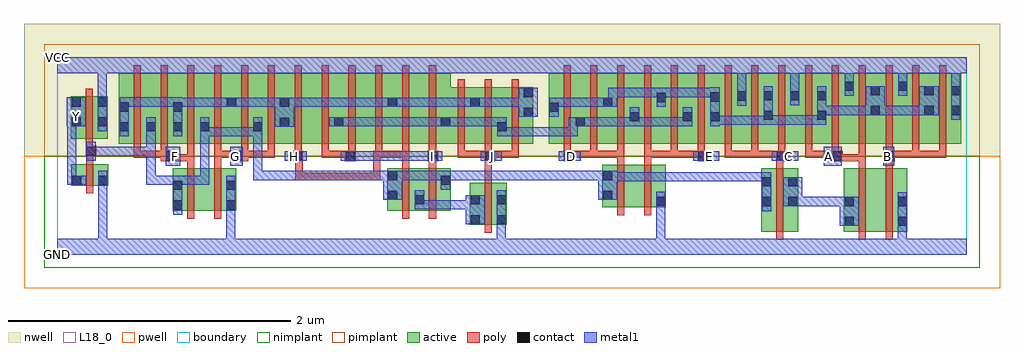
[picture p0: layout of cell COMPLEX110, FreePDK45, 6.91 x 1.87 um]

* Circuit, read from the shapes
.subckt COMPLEX110 A B C D E F G GND H I J VCC Y
M1 GND n1 Y VSUBS nfet w=0.15u l=0.05u
M2 n2 F n1 VSUBS nfet w=0.3u l=0.05u
M3 GND G n2 VSUBS nfet w=0.3u l=0.05u
M4 n3 H n1 VSUBS nfet w=0.3u l=0.05u
M5 n1 I n3 VSUBS nfet w=0.3u l=0.05u
M6 GND J n3 VSUBS nfet w=0.3u l=0.05u
M7 n4 D n1 VSUBS nfet w=0.3u l=0.05u
M8 GND E n4 VSUBS nfet w=0.3u l=0.05u
M9 n5 C n1 VSUBS nfet w=0.45u l=0.05u
M10 n6 A n5 VSUBS nfet w=0.45u l=0.05u
M11 GND B n6 VSUBS nfet w=0.45u l=0.05u
M12 VCC n1 Y n7 pfet w=0.3u l=0.05u
M13 n1 F n8 n7 pfet w=0.5u l=0.05u m=3
M14 n8 G n1 n7 pfet w=0.5u l=0.05u m=3
M15 n9 H n8 n7 pfet w=0.5u l=0.05u
M16 n10 I n9 n7 pfet w=0.5u l=0.05u
M17 n11 I n10 n7 pfet w=0.5u l=0.05u
M18 n8 H n11 n7 pfet w=0.5u l=0.05u
M19 n12 H n8 n7 pfet w=0.5u l=0.05u
M20 n10 I n12 n7 pfet w=0.5u l=0.05u
M21 n8 J n10 n7 pfet w=0.4u l=0.05u m=3
M22 n10 D n13 n7 pfet w=0.5u l=0.05u m=3
M23 n13 E n10 n7 pfet w=0.5u l=0.05u m=3
M24 VCC C n13 n7 pfet w=0.5u l=0.05u m=3
M25 n13 A VCC n7 pfet w=0.5u l=0.05u m=3
M26 VCC B n13 n7 pfet w=0.5u l=0.05u m=3
.ends

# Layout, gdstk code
import gdstk
lib = gdstk.Library(unit=1e-6, precision=1e-09)
def R(c, l, rs):  # rectangles x0, y0, x1, y1
    for r in rs: c.add(gdstk.rectangle(r[:2], r[2:], *l))
def A(c, l, x, y, w, h, nx, ny, dx, dy):  # array of equal rectangles
    R(c, l, [(x+i*dx, y+j*dy, x+i*dx+w, y+j*dy+h) for i in range(nx) for j in range(ny)])
active = (1, 0)
pwell = (2, 0)
nwell = (3, 0)
nimplant = (4, 0)
pimplant = (5, 0)
poly = (9, 0)
contact = (10, 0)
metal1 = (11, 0)
L18_0 = (18, 0)
boundary = (235, 0)

complex110 = lib.new_cell('COMPLEX110')
A(complex110, active, 0.437, 0.787, 0.265, 0.5, 4, 1, 0.19, 0)
A(complex110, active, 3.86, 0.807, 0.075, 0.393, 3, 1, 0.38, 0)
A(complex110, active, 5.375, 0.807, 0.075, 0.393, 3, 1, 0.38, 0)
R(complex110, active, [(4.985,0.162,5.245,0.612), (5.57,0.162,5.795,0.612), (5.795,0.162,6.02,0.612), (5.945,0.182,6.02,0.612), (4.985,0.195,5.06,0.612), (5.17,0.195,5.245,0.612), (5.57,0.195,5.675,0.612), (2.922,0.212,2.997,0.427), (2.922,0.212,3.182,0.512), (3.107,0.212,3.182,0.427), (0.817,0.312,0.892,0.612), (0.817,0.312,1.042,0.612), (1.042,0.312,1.267,0.612), (1.192,0.312,1.267,0.612), (2.337,0.312,2.412,0.612), (2.337,0.312,2.602,0.612), (2.527,0.312,2.787,0.612), (2.527,0.312,2.602,0.497), (2.712,0.33,2.787,0.612), (3.86,0.337,4.085,0.637), (4.085,0.337,4.31,0.637), (4.235,0.337,4.31,0.637), (3.86,0.345,3.935,0.637), (0.1,0.49,0.175,0.64), (0.1,0.49,0.36,0.64), (0.285,0.49,0.36,0.64), (0.437,0.787,0.512,1.2), (0.627,0.787,0.702,1.07), (0.817,0.787,0.892,1.2), (1.007,0.787,1.082,1.07), (1.197,0.787,1.457,1.287), (1.382,0.787,1.647,1.287), (1.572,0.787,1.802,1.287), (1.802,0.787,2.03,1.287), (1.955,0.787,2.182,1.287), (2.182,0.787,2.412,1.287), (2.337,0.787,2.562,1.287), (2.562,0.787,2.787,1.287), (2.712,0.787,2.787,1.07), (2.712,0.787,2.995,1.187), (2.92,0.787,3.187,1.187), (3.112,0.787,3.187,1.07), (3.112,0.787,3.372,1.187), (3.297,0.787,3.372,1.187), (3.48,0.787,3.74,1.287), (3.48,0.787,3.555,1.2), (3.665,0.787,3.935,1.287), (3.665,0.787,3.74,1.07), (3.86,0.787,4.125,1.287), (4.05,0.787,4.315,1.287), (4.24,0.787,4.5,1.287), (4.425,0.787,4.695,1.287), (4.62,0.787,4.885,1.287), (4.81,0.787,5.072,1.287), (4.997,0.787,5.26,1.287), (5.185,0.787,5.45,1.287), (5.375,0.787,5.645,1.287), (5.57,0.787,5.83,1.287), (5.755,0.787,6.025,1.287), (5.95,0.787,6.21,1.287), (6.135,0.787,6.4,1.287), (6.325,0.787,6.4,1.255), (1.197,0.807,1.272,1.2), (1.382,0.807,1.457,1.07), (1.572,0.807,1.647,1.2), (1.955,0.807,2.03,1.07), (2.337,0.807,2.412,1.2), (4.05,0.807,4.125,1.07), (4.425,0.807,4.5,1.07), (4.81,0.807,4.885,1.255), (4.997,0.807,5.072,1.2), (5.185,0.807,5.26,1.255), (5.57,0.807,5.645,1.255), (5.95,0.807,6.025,1.255), (0.097,0.822,0.357,1.122), (0.097,0.822,0.172,1.12), (0.282,0.822,0.357,1.122), (2.92,0.907,2.995,1.187)])
R(complex110, pwell, [(-0.235,-0.235,6.675,0.7)])
R(complex110, nwell, [(-0.235,0.7,6.675,1.635)])
R(complex110, nimplant, [(-0.09,-0.09,6.53,0.7)])
R(complex110, pimplant, [(-0.09,0.7,6.53,1.49)])
A(complex110, poly, 1.112, 0.687, 0.05, 0.095, 9, 1, 0.19, 0)
A(complex110, poly, 2.837, 0.687, 0.05, 0.095, 3, 1, 0.19, 0)
A(complex110, poly, 3.585, 0.687, 0.05, 0.095, 11, 1, 0.19, 0)
A(complex110, poly, 3.965, 0.687, 0.05, 0.05, 3, 1, 0.19, 0)
A(complex110, poly, 4.535, 0.687, 0.05, 0.05, 3, 1, 0.19, 0)
A(complex110, poly, 5.865, 0.687, 0.05, 0.095, 3, 1, 0.19, 0)
A(complex110, poly, 0.542, 0.732, 0.05, 0.61, 12, 1, 0.19, 0)
A(complex110, poly, 2.837, 0.732, 0.05, 0.51, 3, 1, 0.19, 0)
A(complex110, poly, 3.585, 0.732, 0.05, 0.61, 15, 1, 0.19, 0)
R(complex110, poly, [(5.09,0.107,5.14,0.667), (5.675,0.107,5.725,0.667), (5.865,0.107,5.915,0.667), (3.027,0.157,3.077,0.567), (0.922,0.257,0.972,0.667), (1.112,0.257,1.162,0.667), (2.442,0.257,2.492,0.667), (2.632,0.257,2.682,0.667), (3.965,0.282,4.015,0.692), (4.155,0.282,4.205,0.692), (0.205,0.435,0.255,0.695), (3.027,0.517,3.077,0.712), (1.687,0.53,1.737,0.58), (1.687,0.53,1.737,0.58), (1.687,0.53,1.737,0.58), (1.687,0.53,1.955,0.58), (1.687,0.53,1.737,0.712), (1.905,0.53,1.955,0.58), (1.905,0.53,1.955,0.58), (1.905,0.53,1.955,0.58), (1.905,0.53,2.087,0.58), (2.037,0.53,2.087,0.58), (2.037,0.53,2.287,0.58), (2.237,0.53,2.287,0.58), (2.237,0.53,2.287,0.58), (2.237,0.53,2.287,0.58), (2.237,0.53,2.287,0.58), (2.237,0.53,2.287,0.58), (2.237,0.53,2.287,0.737), (0.922,0.617,0.972,0.712), (1.112,0.617,1.162,0.737), (2.442,0.617,2.492,0.737), (2.632,0.617,2.682,0.712), (5.09,0.617,5.14,0.712), (5.675,0.617,5.725,0.712), (5.865,0.617,5.915,0.712), (3.965,0.642,4.015,0.737), (4.155,0.642,4.205,0.737), (0.205,0.645,0.255,0.747), (0.732,0.662,0.84,0.737), (0.79,0.662,0.972,0.712), (0.922,0.662,0.972,0.712), (0.922,0.662,0.972,0.712), (0.922,0.662,0.972,0.712), (0.922,0.662,0.972,0.782), (1.245,0.662,1.352,0.737), (1.662,0.662,1.737,0.737), (1.687,0.662,1.737,0.712), (1.687,0.662,1.737,0.712), (2.037,0.662,2.112,0.737), (2.622,0.662,2.697,0.737), (3.027,0.662,3.102,0.737), (3.585,0.662,3.66,0.737), (4.535,0.662,4.61,0.737), (5.09,0.662,5.165,0.737), (5.485,0.662,5.56,0.737), (5.51,0.662,5.56,0.712), (5.51,0.662,5.56,0.712), (5.51,0.662,5.725,0.712), (5.675,0.662,5.725,0.712), (5.675,0.662,5.725,0.782), (5.855,0.662,5.93,0.737), (0.542,0.687,0.592,0.782), (0.542,0.687,0.592,0.737), (0.542,0.687,0.782,0.737), (0.732,0.687,0.782,0.782), (0.732,0.687,0.782,0.737), (0.732,0.687,0.782,0.737), (1.112,0.687,1.162,0.737), (1.112,0.687,1.162,0.737), (1.112,0.687,1.162,0.737), (1.112,0.687,1.295,0.737), (1.302,0.687,1.542,0.737), (1.492,0.687,1.542,0.737), (1.492,0.687,1.542,0.737), (1.492,0.687,1.542,0.737), (1.872,0.687,1.922,0.737), (1.872,0.687,2.087,0.737), (2.037,0.687,2.087,0.737), (2.037,0.687,2.087,0.737), (2.237,0.687,2.302,0.737), (2.252,0.687,2.492,0.737), (2.442,0.687,2.492,0.737), (2.442,0.687,2.492,0.737), (2.442,0.687,2.492,0.737), (2.837,0.687,2.887,0.737), (2.837,0.687,2.887,0.737), (2.837,0.687,2.887,0.737), (2.837,0.687,3.077,0.737), (3.052,0.687,3.102,0.737), (3.052,0.687,3.102,0.737), (3.052,0.687,3.267,0.737), (3.217,0.687,3.267,0.737), (3.61,0.687,3.66,0.737), (3.61,0.687,3.66,0.737), (3.61,0.687,3.825,0.737), (3.775,0.687,3.825,0.737), (3.775,0.687,4.015,0.737), (3.965,0.687,4.015,0.737), (3.965,0.687,4.015,0.737), (4.155,0.687,4.395,0.737), (4.345,0.687,4.395,0.737), (4.345,0.687,4.395,0.737), (4.345,0.687,4.585,0.737), (4.535,0.687,4.585,0.737), (4.725,0.687,4.965,0.737), (4.915,0.687,4.965,0.737), (4.915,0.687,4.965,0.737), (4.915,0.687,5.14,0.737), (5.09,0.687,5.14,0.737), (5.09,0.687,5.14,0.737), (5.295,0.687,5.345,0.737), (5.295,0.687,5.345,0.737), (5.295,0.687,5.345,0.737), (5.295,0.687,5.535,0.737), (5.88,0.687,5.93,0.737), (5.88,0.687,5.93,0.737), (5.88,0.687,6.105,0.737), (6.055,0.687,6.105,0.737), (6.055,0.687,6.295,0.737), (6.245,0.687,6.295,0.737), (6.245,0.687,6.295,0.737), (6.245,0.687,6.295,0.737), (0.202,0.697,0.277,0.772), (0.202,0.722,0.252,0.817), (0.202,0.767,0.252,1.177)])
A(complex110, contact, 0.442, 0.875, 0.065, 0.065, 4, 1, 0.19, 0)
R(complex110, contact, [(5.575,0.205,5.64,0.27), (5.95,0.205,6.015,0.27), (2.927,0.217,2.992,0.282), (3.112,0.217,3.177,0.282), (0.822,0.32,0.887,0.385), (1.197,0.32,1.262,0.385), (4.99,0.345,5.055,0.41), (5.175,0.345,5.24,0.41), (5.575,0.345,5.64,0.41), (5.95,0.345,6.015,0.41), (4.24,0.347,4.305,0.412), (2.532,0.357,2.597,0.422), (2.927,0.357,2.992,0.422), (3.112,0.357,3.177,0.422), (2.342,0.39,2.407,0.455), (3.865,0.39,3.93,0.455), (0.822,0.46,0.887,0.525), (1.197,0.46,1.262,0.525), (4.99,0.485,5.055,0.55), (5.175,0.485,5.24,0.55), (0.105,0.495,0.17,0.56), (0.29,0.495,0.355,0.56), (2.717,0.495,2.782,0.56), (2.342,0.53,2.407,0.595), (3.865,0.53,3.93,0.595), (0.77,0.667,0.835,0.732), (1.25,0.667,1.315,0.732), (1.667,0.667,1.732,0.732), (2.042,0.667,2.107,0.732), (2.627,0.667,2.692,0.732), (3.032,0.667,3.097,0.732), (3.59,0.667,3.655,0.732), (4.54,0.667,4.605,0.732), (5.095,0.667,5.16,0.732), (5.49,0.667,5.555,0.732), (5.86,0.667,5.925,0.732), (0.207,0.702,0.272,0.767), (1.387,0.875,1.452,0.94), (3.117,0.875,3.182,0.94), (1.577,0.907,1.642,0.972), (0.102,0.91,0.167,0.975), (0.287,0.91,0.352,0.975), (1.96,0.91,2.025,0.975), (2.717,0.91,2.782,0.975), (3.67,0.91,3.735,0.975), (4.055,0.945,4.12,1.01), (4.43,0.945,4.495,1.01), (4.625,0.945,4.69,1.01), (5.002,0.955,5.067,1.02), (5.38,0.955,5.445,1.02), (3.302,0.977,3.367,1.042), (5.76,0.99,5.825,1.055), (6.14,0.99,6.205,1.055), (6.33,0.99,6.395,1.055), (3.485,1.012,3.55,1.077), (0.442,1.015,0.507,1.08), (0.822,1.015,0.887,1.08), (1.202,1.047,1.267,1.112), (1.577,1.047,1.642,1.112), (2.342,1.047,2.407,1.112), (2.925,1.047,2.99,1.112), (3.865,1.047,3.93,1.112), (0.102,1.05,0.167,1.115), (0.287,1.05,0.352,1.115), (4.245,1.082,4.31,1.147), (4.625,1.085,4.69,1.15), (4.815,1.092,4.88,1.157), (5.002,1.095,5.067,1.16), (5.19,1.095,5.255,1.16), (5.38,1.095,5.445,1.16), (3.302,1.117,3.367,1.182), (5.76,1.13,5.825,1.195), (6.14,1.13,6.205,1.195), (6.33,1.13,6.395,1.195), (5.575,1.162,5.64,1.227), (5.955,1.162,6.02,1.227)])
R(complex110, metal1, [(0,0,6.44,0.115), (0.29,0.05,0.355,0.115), (0.29,0.05,0.355,0.115), (0.29,0.05,0.355,0.525), (1.197,0.05,1.262,0.115), (1.197,0.05,1.262,0.115), (1.197,0.05,1.262,0.115), (1.197,0.05,1.262,0.115), (1.197,0.05,1.262,0.35), (3.112,0.05,3.177,0.247), (4.24,0.05,4.305,0.115), (4.24,0.05,4.305,0.115), (4.24,0.05,4.305,0.115), (4.24,0.05,4.305,0.115), (4.24,0.05,4.305,0.377), (5.95,0.05,6.015,0.235), (5.95,0.17,6.015,0.445), (5.95,0.17,6.015,0.235), (5.95,0.17,6.015,0.235), (3.112,0.182,3.177,0.457), (3.112,0.182,3.177,0.247), (3.112,0.182,3.177,0.247), (3.112,0.182,3.177,0.247), (3.112,0.182,3.177,0.247), (5.54,0.205,5.675,0.41), (2.892,0.217,3.027,0.422), (0.822,0.285,0.887,0.56), (1.197,0.285,1.262,0.56), (4.99,0.31,5.055,0.585), (4.24,0.312,4.305,0.447), (2.532,0.322,2.597,0.457), (2.532,0.322,2.61,0.387), (2.545,0.322,2.61,0.387), (2.545,0.322,2.817,0.387), (2.752,0.322,2.817,0.387), (2.752,0.322,2.817,0.387), (2.752,0.322,2.817,0.387), (2.752,0.322,2.957,0.387), (5.14,0.345,5.275,0.55), (5.21,0.345,5.275,0.41), (5.21,0.345,5.275,0.41), (5.21,0.345,5.467,0.41), (5.402,0.345,5.467,0.41), (5.402,0.345,5.467,0.41), (5.402,0.345,5.467,0.41), (5.402,0.345,5.605,0.41), (2.307,0.39,2.442,0.595), (3.83,0.39,3.965,0.595), (0.29,0.46,0.355,0.525), (0.29,0.46,0.355,0.525), (0.29,0.46,0.355,0.525), (0.29,0.46,0.355,0.525), (0.29,0.46,0.355,0.595), (2.717,0.46,2.782,0.595), (0.07,0.495,0.135,0.56), (0.07,0.495,0.135,0.56), (0.07,0.495,0.135,0.56), (0.07,0.495,0.135,0.56), (0.07,0.495,0.205,0.56), (0.07,0.495,0.135,0.975), (0.632,0.495,0.697,0.56), (0.632,0.495,0.697,0.56), (0.632,0.495,0.697,0.56), (0.632,0.495,0.887,0.56), (0.632,0.495,0.697,0.767), (0.822,0.495,0.887,0.56), (0.822,0.495,0.887,0.56), (0.822,0.495,1.077,0.56), (1.012,0.495,1.077,0.56), (1.012,0.495,1.077,0.56), (1.012,0.495,1.077,0.56), (1.012,0.495,1.077,0.905), (3.9,0.52,3.965,0.585), (3.9,0.52,3.965,0.585), (3.9,0.52,4.12,0.585), (4.055,0.52,4.12,0.585), (4.055,0.52,4.257,0.585), (4.192,0.52,4.257,0.585), (4.192,0.52,4.257,0.585), (4.192,0.52,4.257,0.585), (4.192,0.52,4.415,0.585), (4.35,0.52,4.415,0.585), (4.35,0.52,4.447,0.585), (4.382,0.52,4.447,0.585), (4.382,0.52,4.707,0.585), (4.642,0.52,4.707,0.585), (4.642,0.52,4.707,0.585), (4.642,0.52,4.707,0.585), (4.642,0.52,4.85,0.585), (4.785,0.52,4.85,0.585), (4.785,0.52,4.85,0.585), (4.785,0.52,4.85,0.585), (4.785,0.52,4.987,0.585), (4.922,0.52,4.987,0.585), (4.922,0.52,5.055,0.585), (1.387,0.53,1.452,0.595), (1.387,0.53,1.452,0.595), (1.387,0.53,1.452,0.595), (1.387,0.53,1.452,0.595), (1.387,0.53,1.452,0.595), (1.387,0.53,1.59,0.595), (1.387,0.53,1.452,0.905), (1.525,0.53,1.59,0.595), (1.525,0.53,1.59,0.595), (1.525,0.53,1.59,0.595), (1.525,0.53,1.815,0.595), (1.75,0.53,1.815,0.595), (1.75,0.53,1.815,0.595), (1.75,0.53,1.815,0.595), (1.75,0.53,2.06,0.595), (1.995,0.53,2.06,0.595), (1.995,0.53,2.197,0.595), (2.132,0.53,2.197,0.595), (2.132,0.53,2.197,0.595), (2.132,0.53,2.197,0.595), (2.132,0.53,2.335,0.595), (2.27,0.53,2.335,0.595), (2.27,0.53,2.372,0.595), (2.377,0.53,2.472,0.595), (2.407,0.53,2.472,0.595), (2.407,0.53,2.61,0.595), (2.545,0.53,2.61,0.595), (2.545,0.53,2.61,0.595), (2.545,0.53,2.61,0.595), (2.545,0.53,2.782,0.595), (2.717,0.53,2.782,0.595), (2.717,0.53,2.782,0.595), (2.717,0.53,3.025,0.595), (2.96,0.53,3.025,0.595), (2.96,0.53,3.025,0.595), (2.96,0.53,3.025,0.595), (2.96,0.53,3.162,0.595), (3.097,0.53,3.162,0.595), (3.097,0.53,3.162,0.595), (3.097,0.53,3.162,0.595), (3.097,0.53,3.32,0.595), (3.255,0.53,3.32,0.595), (3.255,0.53,3.32,0.595), (3.255,0.53,3.32,0.595), (3.255,0.53,3.54,0.595), (3.475,0.53,3.54,0.595), (3.475,0.53,3.687,0.595), (3.622,0.53,3.687,0.595), (3.622,0.53,3.825,0.595), (3.76,0.53,3.825,0.595), (3.76,0.53,3.895,0.595), (5.847,0.63,5.925,0.767), (0.77,0.632,0.872,0.767), (1.227,0.632,1.315,0.767), (5.427,0.632,5.555,0.767), (0.207,0.667,0.272,0.802), (1.612,0.667,1.767,0.732), (2.007,0.667,2.142,0.732), (2.077,0.667,2.235,0.732), (2.17,0.667,2.235,0.732), (2.17,0.667,2.335,0.732), (2.27,0.667,2.335,0.732), (2.27,0.667,2.46,0.732), (2.395,0.667,2.46,0.732), (2.395,0.667,2.472,0.732), (2.407,0.667,2.472,0.732), (2.407,0.667,2.61,0.732), (2.545,0.667,2.61,0.732), (2.545,0.667,2.657,0.732), (2.592,0.667,2.727,0.732), (2.997,0.667,3.147,0.735), (3.552,0.667,3.707,0.732), (4.505,0.667,4.687,0.732), (5.06,0.667,5.247,0.732), (0.207,0.702,0.272,0.767), (0.207,0.702,0.272,0.767), (0.207,0.702,0.507,0.767), (0.442,0.702,0.507,0.767), (0.442,0.702,0.507,0.767), (0.442,0.702,0.507,0.767), (0.442,0.702,0.697,0.767), (0.632,0.702,0.697,0.767), (0.632,0.702,0.697,0.905), (0.442,0.84,0.507,1.115), (0.632,0.84,0.697,0.975), (0.822,0.84,0.887,1.115), (1.012,0.84,1.077,0.905), (1.012,0.84,1.077,0.905), (1.012,0.84,1.077,0.975), (1.012,0.84,1.315,0.905), (1.25,0.84,1.315,0.905), (1.25,0.84,1.315,0.905), (1.25,0.84,1.315,0.905), (1.25,0.84,1.452,0.905), (1.387,0.84,1.452,0.975), (3.117,0.84,3.182,0.905), (3.117,0.84,3.182,0.905), (3.117,0.84,3.32,0.905), (3.117,0.84,3.182,0.975), (3.255,0.84,3.32,0.905), (3.255,0.84,3.32,0.905), (3.255,0.84,3.32,0.905), (3.255,0.84,3.687,0.905), (3.622,0.84,3.687,0.975), (0.287,0.875,0.352,1.15), (1.542,0.907,1.677,1.112), (0.067,0.91,0.202,1.115), (0.07,0.91,0.135,0.975), (0.07,0.91,0.135,0.975), (1.925,0.91,2.06,0.975), (1.995,0.91,2.197,0.975), (2.132,0.91,2.197,0.975), (2.132,0.91,2.197,0.975), (2.132,0.91,2.197,0.975), (2.132,0.91,2.335,0.975), (2.27,0.91,2.335,0.975), (2.27,0.91,2.372,0.975), (2.307,0.91,2.372,0.975), (2.307,0.91,2.472,0.975), (2.407,0.91,2.472,0.975), (2.407,0.91,2.61,0.975), (2.545,0.91,2.61,0.975), (2.545,0.91,2.61,0.975), (2.545,0.91,2.61,0.975), (2.545,0.91,2.747,0.975), (2.682,0.91,2.817,0.975), (2.752,0.91,2.817,0.975), (2.752,0.91,2.817,0.975), (2.752,0.91,2.955,0.975), (2.89,0.91,2.955,0.975), (2.89,0.91,2.955,0.975), (2.89,0.91,2.955,0.975), (2.89,0.91,3.182,0.975), (3.622,0.91,3.7,0.975), (3.635,0.91,3.77,0.975), (3.692,0.91,3.757,0.975), (3.692,0.91,3.757,0.975), (3.692,0.91,3.825,0.975), (3.76,0.91,3.825,0.975), (3.76,0.91,3.962,0.975), (3.897,0.91,3.962,0.975), (3.897,0.91,3.962,0.975), (3.897,0.91,3.962,0.975), (3.897,0.91,4.12,0.975), (4.055,0.91,4.12,1.045), (4.055,0.91,4.257,0.975), (4.192,0.91,4.257,0.975), (4.192,0.91,4.257,0.975), (4.192,0.91,4.257,0.975), (4.192,0.91,4.415,0.975), (4.35,0.91,4.415,0.975), (4.35,0.91,4.495,0.975), (4.43,0.91,4.495,1.045), (4.625,0.91,4.69,1.185), (4.625,0.92,4.845,0.985), (4.78,0.92,4.845,0.985), (4.78,0.92,4.917,0.985), (4.852,0.92,4.917,0.985), (4.852,0.92,4.987,0.985), (4.922,0.92,4.987,0.985), (4.922,0.92,5.067,0.985), (5.002,0.92,5.067,1.195), (5.38,0.92,5.445,1.195), (5.002,0.922,5.125,0.987), (5.06,0.922,5.125,0.987), (5.06,0.922,5.262,0.987), (5.197,0.922,5.262,0.987), (5.197,0.922,5.262,0.987), (5.197,0.922,5.262,0.987), (5.197,0.922,5.445,0.987), (6.33,0.955,6.395,1.23), (3.267,0.977,3.402,1.182), (3.485,0.977,3.55,1.112), (5.38,0.99,5.445,1.055), (5.38,0.99,5.445,1.055), (5.38,0.99,5.605,1.055), (5.54,0.99,5.605,1.055), (5.54,0.99,5.605,1.055), (5.54,0.99,5.605,1.055), (5.54,0.99,5.79,1.055), (5.725,0.99,5.86,1.195), (5.795,0.99,5.86,1.055), (5.795,0.99,5.86,1.055), (5.795,0.99,6.032,1.055), (5.967,0.99,6.032,1.055), (5.967,0.99,6.17,1.055), (6.105,0.99,6.17,1.055), (6.105,0.99,6.17,1.055), (6.105,0.99,6.24,1.195), (0.822,1.047,0.887,1.112), (0.822,1.047,0.887,1.112), (0.822,1.047,1.025,1.112), (0.96,1.047,1.025,1.112), (0.96,1.047,1.025,1.112), (0.96,1.047,1.025,1.112), (0.96,1.047,1.232,1.112), (1.167,1.047,1.302,1.112), (1.237,1.047,1.302,1.112), (1.237,1.047,1.302,1.112), (1.237,1.047,1.452,1.112), (1.387,1.047,1.452,1.112), (1.387,1.047,1.452,1.112), (1.387,1.047,1.452,1.112), (1.387,1.047,1.607,1.112), (1.612,1.047,1.677,1.112), (1.612,1.047,1.677,1.112), (1.612,1.047,1.815,1.112), (1.75,1.047,1.815,1.112), (1.75,1.047,1.815,1.112), (1.75,1.047,1.815,1.112), (1.75,1.047,2.06,1.112), (1.995,1.047,2.06,1.112), (1.995,1.047,2.06,1.112), (1.995,1.047,2.06,1.112), (1.995,1.047,2.235,1.112), (2.17,1.047,2.235,1.112), (2.17,1.047,2.335,1.112), (2.27,1.047,2.335,1.112), (2.27,1.047,2.372,1.112), (2.307,1.047,2.442,1.112), (2.377,1.047,2.472,1.112), (2.407,1.047,2.472,1.112), (2.407,1.047,2.61,1.112), (2.545,1.047,2.61,1.112), (2.545,1.047,2.61,1.112), (2.545,1.047,2.61,1.112), (2.545,1.047,2.817,1.112), (2.752,1.047,2.817,1.112), (2.752,1.047,2.817,1.112), (2.752,1.047,2.817,1.112), (2.752,1.047,2.955,1.112), (2.89,1.047,3.025,1.112), (2.96,1.047,3.025,1.112), (2.96,1.047,3.025,1.112), (2.96,1.047,3.182,1.112), (3.117,1.047,3.182,1.112), (3.117,1.047,3.182,1.112), (3.117,1.047,3.182,1.112), (3.117,1.047,3.332,1.112), (3.485,1.047,3.55,1.112), (3.485,1.047,3.55,1.112), (3.485,1.047,3.757,1.112), (3.692,1.047,3.757,1.112), (3.692,1.047,3.825,1.112), (3.76,1.047,3.825,1.112), (3.76,1.047,3.895,1.112), (3.83,1.047,3.965,1.112), (3.9,1.047,3.965,1.112), (3.9,1.047,3.965,1.182), (4.245,1.047,4.31,1.182), (0.442,1.05,0.507,1.115), (0.442,1.05,0.507,1.115), (0.442,1.05,0.645,1.115), (0.58,1.05,0.645,1.115), (0.58,1.05,0.645,1.115), (0.58,1.05,0.645,1.115), (0.58,1.05,0.887,1.115), (4.815,1.057,4.88,1.192), (5.19,1.06,5.255,1.195), (0.287,1.085,0.352,1.35), (3.9,1.117,4.102,1.182), (4.037,1.117,4.102,1.182), (4.037,1.117,4.102,1.182), (4.037,1.117,4.102,1.182), (4.037,1.117,4.31,1.182), (4.245,1.117,4.395,1.182), (4.33,1.117,4.395,1.182), (4.33,1.117,4.552,1.182), (4.487,1.117,4.552,1.182), (4.487,1.117,4.69,1.182), (4.625,1.117,4.69,1.182), (4.625,1.117,4.69,1.182), (4.815,1.127,4.88,1.35), (5.575,1.127,5.64,1.262), (5.955,1.127,6.02,1.262), (5.19,1.13,5.255,1.35), (6.33,1.165,6.395,1.35), (5.575,1.197,5.64,1.35), (5.955,1.197,6.02,1.35), (0,1.285,6.44,1.4), (0.287,1.285,0.352,1.35), (0.287,1.285,0.352,1.35)])
A(complex110, L18_0, 0.807, 0.667, 0.065, 0.065, 3, 1, 0.42, 0)
R(complex110, L18_0, [(0,0,6.44,0.115), (0.29,0.05,0.355,0.115), (0.29,0.05,0.355,0.115), (0.29,0.05,0.355,0.525), (1.197,0.05,1.262,0.115), (1.197,0.05,1.262,0.115), (1.197,0.05,1.262,0.115), (1.197,0.05,1.262,0.115), (1.197,0.05,1.262,0.35), (3.112,0.05,3.177,0.247), (4.24,0.05,4.305,0.115), (4.24,0.05,4.305,0.115), (4.24,0.05,4.305,0.115), (4.24,0.05,4.305,0.115), (4.24,0.05,4.305,0.377), (5.95,0.05,6.015,0.235), (5.95,0.17,6.015,0.235), (5.95,0.17,6.015,0.235), (5.95,0.17,6.015,0.445), (3.112,0.182,3.177,0.247), (3.112,0.182,3.177,0.247), (3.112,0.182,3.177,0.247), (3.112,0.182,3.177,0.247), (3.112,0.182,3.177,0.457), (1.197,0.285,1.262,0.56), (4.24,0.312,4.305,0.447), (0.29,0.46,0.355,0.525), (0.29,0.46,0.355,0.525), (0.29,0.46,0.355,0.525), (0.29,0.46,0.355,0.525), (0.29,0.46,0.355,0.595), (0.07,0.495,0.205,0.56), (0.07,0.495,0.135,0.56), (0.07,0.495,0.135,0.56), (0.07,0.495,0.135,0.56), (0.07,0.495,0.135,0.56), (0.07,0.495,0.135,0.975), (5.847,0.63,5.925,0.767), (0.77,0.632,0.872,0.767), (1.227,0.632,1.315,0.767), (5.427,0.632,5.555,0.767), (1.612,0.667,1.767,0.732), (2.007,0.667,2.142,0.732), (2.077,0.667,2.235,0.732), (2.17,0.667,2.235,0.732), (2.17,0.667,2.335,0.732), (2.27,0.667,2.335,0.732), (2.27,0.667,2.46,0.732), (2.395,0.667,2.46,0.732), (2.395,0.667,2.472,0.732), (2.407,0.667,2.472,0.732), (2.407,0.667,2.61,0.732), (2.545,0.667,2.61,0.732), (2.545,0.667,2.657,0.732), (2.592,0.667,2.727,0.732), (2.627,0.667,2.692,0.732), (2.997,0.667,3.147,0.735), (3.047,0.667,3.112,0.732), (3.552,0.667,3.707,0.732), (3.607,0.667,3.672,0.732), (4.505,0.667,4.687,0.732), (4.587,0.667,4.652,0.732), (5.06,0.667,5.247,0.732), (5.147,0.667,5.212,0.732), (5.427,0.667,5.492,0.732), (5.847,0.667,5.912,0.732), (0.287,0.875,0.352,1.15), (0.067,0.91,0.202,1.115), (0.07,0.91,0.135,0.975), (0.07,0.91,0.135,0.975), (0.107,0.947,0.172,1.012), (6.33,0.955,6.395,1.23), (4.815,1.057,4.88,1.192), (5.19,1.06,5.255,1.195), (0.287,1.085,0.352,1.35), (4.815,1.127,4.88,1.35), (5.575,1.127,5.64,1.262), (5.955,1.127,6.02,1.262), (5.19,1.13,5.255,1.35), (6.33,1.165,6.395,1.35), (5.575,1.197,5.64,1.35), (5.955,1.197,6.02,1.35), (0,1.285,6.44,1.4), (0.287,1.285,0.352,1.35), (0.287,1.285,0.352,1.35)])
R(complex110, boundary, [(0,0,6.44,1.4)])
complex110.add(gdstk.Label('A', (5.46,0.7), layer=11, texttype=0))
complex110.add(gdstk.Label('B', (5.88,0.7), layer=11, texttype=0))
complex110.add(gdstk.Label('C', (5.18,0.7), layer=11, texttype=0))
complex110.add(gdstk.Label('D', (3.64,0.7), layer=11, texttype=0))
complex110.add(gdstk.Label('E', (4.62,0.7), layer=11, texttype=0))
complex110.add(gdstk.Label('F', (0.84,0.7), layer=11, texttype=0))
complex110.add(gdstk.Label('G', (1.26,0.7), layer=11, texttype=0))
complex110.add(gdstk.Label('H', (1.68,0.7), layer=11, texttype=0))
complex110.add(gdstk.Label('I', (2.66,0.7), layer=11, texttype=0))
complex110.add(gdstk.Label('J', (3.08,0.7), layer=11, texttype=0))
complex110.add(gdstk.Label('Y', (0.14,0.98), layer=11, texttype=0))
complex110.add(gdstk.Label('VCC', (0,1.4), layer=11, texttype=0))
complex110.add(gdstk.Label('GND', (0,0), layer=11, texttype=0))

lib.write_gds('COMPLEX110.gds')
